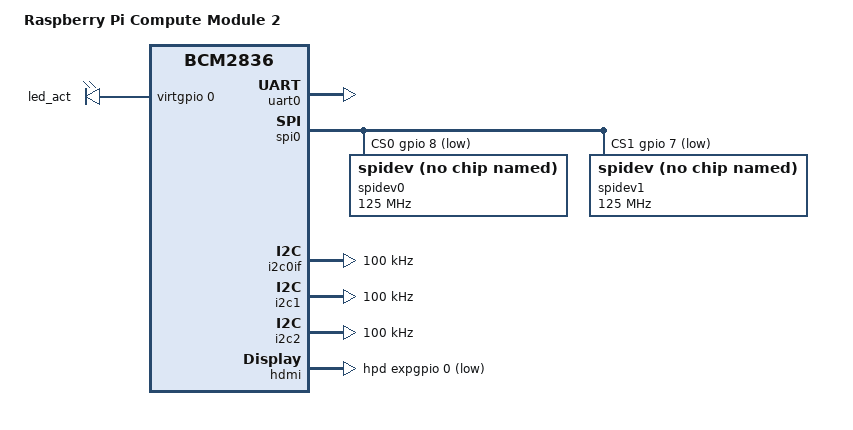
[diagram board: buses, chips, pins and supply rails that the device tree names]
/dts-v1/;

#include "bcm2709.dtsi"
#include "bcm2709-rpi.dtsi"
#include "bcm283x-rpi-csi0-2lane.dtsi"
#include "bcm283x-rpi-csi1-4lane.dtsi"
#include "bcm283x-rpi-i2c0mux_0_28.dtsi"
#include "bcm283x-rpi-led-deprecated.dtsi"

/ {
	compatible = "raspberrypi,2-compute-module", "brcm,bcm2836";
	model = "Raspberry Pi Compute Module 2";
};

&cam1_reg {
	gpio = <&gpio 2 GPIO_ACTIVE_HIGH>;
	status = "disabled";
};

cam0_reg: &cam0_regulator {
	gpio = <&gpio 30 GPIO_ACTIVE_HIGH>;
};

&uart0 {
	status = "okay";
};

&gpio {
	/*
	 * This is based on the official GPU firmware DT blob.
	 *
	 * Legend:
	 * "NC" = not connected (no rail from the SoC)
	 * "FOO" = GPIO line named "FOO" on the schematic
	 * "FOO_N" = GPIO line named "FOO" on schematic, active low
	 */
	gpio-line-names = "GPIO0",
			  "GPIO1",
			  "GPIO2",
			  "GPIO3",
			  "GPIO4",
			  "GPIO5",
			  "GPIO6",
			  "GPIO7",
			  "GPIO8",
			  "GPIO9",
			  "GPIO10",
			  "GPIO11",
			  "GPIO12",
			  "GPIO13",
			  "GPIO14",
			  "GPIO15",
			  "GPIO16",
			  "GPIO17",
			  "GPIO18",
			  "GPIO19",
			  "GPIO20",
			  "GPIO21",
			  "GPIO22",
			  "GPIO23",
			  "GPIO24",
			  "GPIO25",
			  "GPIO26",
			  "GPIO27",
			  "GPIO28",
			  "GPIO29",
			  "GPIO30",
			  "GPIO31",
			  "GPIO32",
			  "GPIO33",
			  "GPIO34",
			  "GPIO35",
			  "GPIO36",
			  "GPIO37",
			  "GPIO38",
			  "GPIO39",
			  "GPIO40",
			  "GPIO41",
			  "GPIO42",
			  "GPIO43",
			  "GPIO44",
			  "GPIO45",
			  "SMPS_SCL",
			  "SMPS_SDA",
			  /* Used by eMMC */
			  "SD_CLK_R",
			  "SD_CMD_R",
			  "SD_DATA0_R",
			  "SD_DATA1_R",
			  "SD_DATA2_R",
			  "SD_DATA3_R";

	spi0_pins: spi0_pins {
		brcm,pins = <9 10 11>;
		brcm,function = <4>; /* alt0 */
	};

	spi0_cs_pins: spi0_cs_pins {
		brcm,pins = <8 7>;
		brcm,function = <1>; /* output */
	};

	i2c0_pins: i2c0 {
		brcm,pins = <0 1>;
		brcm,function = <4>;
	};

	i2c1_pins: i2c1 {
		brcm,pins = <2 3>;
		brcm,function = <4>;
	};

	i2s_pins: i2s {
		brcm,pins = <18 19 20 21>;
		brcm,function = <4>; /* alt0 */
	};

	audio_pins: audio_pins {
		brcm,pins;
		brcm,function;
	};
};

&soc {
	virtgpio: virtgpio {
		compatible = "brcm,bcm2835-virtgpio";
		gpio-controller;
		#gpio-cells = <2>;
		firmware = <&firmware>;
		status = "okay";
	};

};

&firmware {
	expgpio: expgpio {
		compatible = "raspberrypi,firmware-gpio";
		gpio-controller;
		#gpio-cells = <2>;
		gpio-line-names = "HDMI_HPD_N",
				  "EMMC_EN_N",
				  "NC",
				  "NC",
				  "NC",
				  "NC",
				  "NC",
				  "NC";
		status = "okay";
	};
};

&spi0 {
	pinctrl-names = "default";
	pinctrl-0 = <&spi0_pins &spi0_cs_pins>;
	cs-gpios = <&gpio 8 1>, <&gpio 7 1>;

	spidev0: spidev@0{
		compatible = "spidev";
		reg = <0>;	/* CE0 */
		#address-cells = <1>;
		#size-cells = <0>;
		spi-max-frequency = <125000000>;
	};

	spidev1: spidev@1{
		compatible = "spidev";
		reg = <1>;	/* CE1 */
		#address-cells = <1>;
		#size-cells = <0>;
		spi-max-frequency = <125000000>;
	};
};

&i2c0if {
	clock-frequency = <100000>;
};

&i2c1 {
	pinctrl-names = "default";
	pinctrl-0 = <&i2c1_pins>;
	clock-frequency = <100000>;
};

&i2c2 {
	clock-frequency = <100000>;
};

&i2s {
	pinctrl-names = "default";
	pinctrl-0 = <&i2s_pins>;
};

&led_act {
	gpios = <&virtgpio 0 GPIO_ACTIVE_HIGH>;
	default-state = "off";
	linux,default-trigger = "mmc0";
};

&hdmi {
	hpd-gpios = <&expgpio 0 GPIO_ACTIVE_LOW>;
};

&vchiq {
	pinctrl-names = "default";
	pinctrl-0 = <&audio_pins>;
};

/ {
	__overrides__ {
		audio = <&chosen>,"bootargs{on='snd_bcm2835.enable_hdmi=1',off='snd_bcm2835.enable_hdmi=0'}";

		act_led_gpio = <&led_act>,"gpios:4";
		act_led_activelow = <&led_act>,"gpios:8";
		act_led_trigger = <&led_act>,"linux,default-trigger";
		cam0_reg = <&cam0_reg>,"status";
		cam0_reg_gpio = <&cam0_reg>,"gpio:4";
		cam1_reg = <&cam1_reg>,"status";
		cam1_reg_gpio = <&cam1_reg>,"gpio:4";
	};
};
